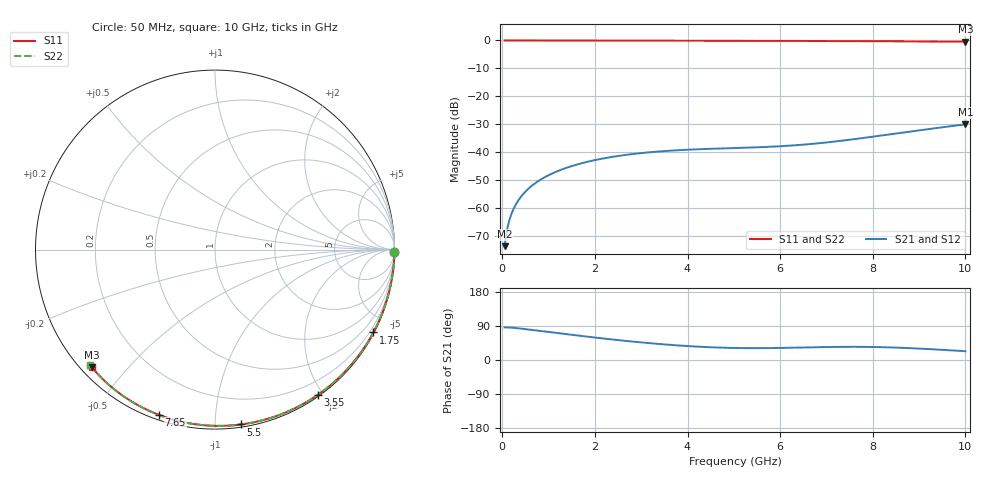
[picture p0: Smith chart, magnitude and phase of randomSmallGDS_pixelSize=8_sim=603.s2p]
! freq	dB(S11)	phase(S11)	dB(S12)	phase(S12)
!  dB(S21)	phase(S21)	dB(S22)	phase(S22)
!S-par simulation data
#  GHz  S  DB  R 50
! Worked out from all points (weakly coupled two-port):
!   200 points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, 50 MHz to 10 GHz, reference 50 ohm
!   highest |S21| = -29.95 dB at 10 GHz (marker M1); lowest = -73.5 dB at 50 MHz (marker M2)
!   lowest |S11| = -0.5 dB at 10 GHz (marker M3), VSWR 38.38, Z = 1.51 - j20 ohm
!   |S11| at or under -10 dB: nowhere
!   |S22| runs from -0.5 to 0.0 dB; largest |S21 - S12| = 0
!   S11 on the Smith chart (normalised r, x): 50 MHz: open; 1.75 GHz: 0.04, -4.07; 3.55 GHz: 0.02, -1.94; 5.5 GHz: 0.02, -1.16; 7.65 GHz: 0.02, -0.72; 10 GHz: 0.03, -0.40
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0.05  -0.00 -0.8  -73.46 86.1  -73.46 86.1  -0.00 -0.8
0.1  -0.00 -1.6  -67.72 85.9  -67.72 85.9  -0.00 -1.6
0.15  -0.00 -2.4  -64.29 85.8  -64.29 85.8  -0.00 -2.4
0.2  -0.00 -3.2  -61.83 85.4  -61.83 85.4  -0.00 -3.2
0.25  -0.00 -4.0  -59.92 84.8  -59.92 84.8  -0.00 -4.1
0.35  -0.00 -5.6  -57.03 83.6  -57.03 83.6  -0.00 -5.7
0.5  -0.01 -8.0  -53.96 81.5  -53.96 81.5  -0.01 -8.1
0.7  -0.01 -11.2  -51.10 78.5  -51.10 78.5  -0.01 -11.3
1  -0.02 -15.9  -48.11 73.9  -48.11 73.9  -0.02 -16.1
1.35  -0.03 -21.4  -45.68 68.7  -45.68 68.7  -0.03 -21.6
1.75  -0.04 -27.6  -43.69 62.8  -43.69 62.8  -0.04 -27.9
2.5  -0.05 -39.1  -41.25 52.5  -41.25 52.5  -0.05 -39.4
3.4  -0.07 -52.4  -39.62 42.1  -39.62 42.1  -0.07 -52.9
3.55  -0.07 -54.6  -39.44 40.6  -39.44 40.6  -0.07 -55.1
4.3  -0.09 -65.3  -38.80 34.7  -38.80 34.7  -0.09 -65.9
5.05  -0.12 -75.6  -38.40 31.7  -38.40 31.7  -0.12 -76.3
5.5  -0.13 -81.6  -38.16 31.2  -38.16 31.2  -0.13 -82.3
6.7  -0.19 -97.1  -36.92 33.6  -36.92 33.6  -0.19 -97.9
7.65  -0.24 -108.8  -35.14 34.8  -35.14 34.8  -0.25 -109.6
8.35  -0.30 -117.1  -33.57 33.3  -33.57 33.3  -0.30 -118.0
9.2  -0.37 -127.1  -31.66 28.9  -31.66 28.9  -0.37 -128.0
10  -0.45 -136.3  -29.95 23.1  -29.95 23.1  -0.46 -137.4
